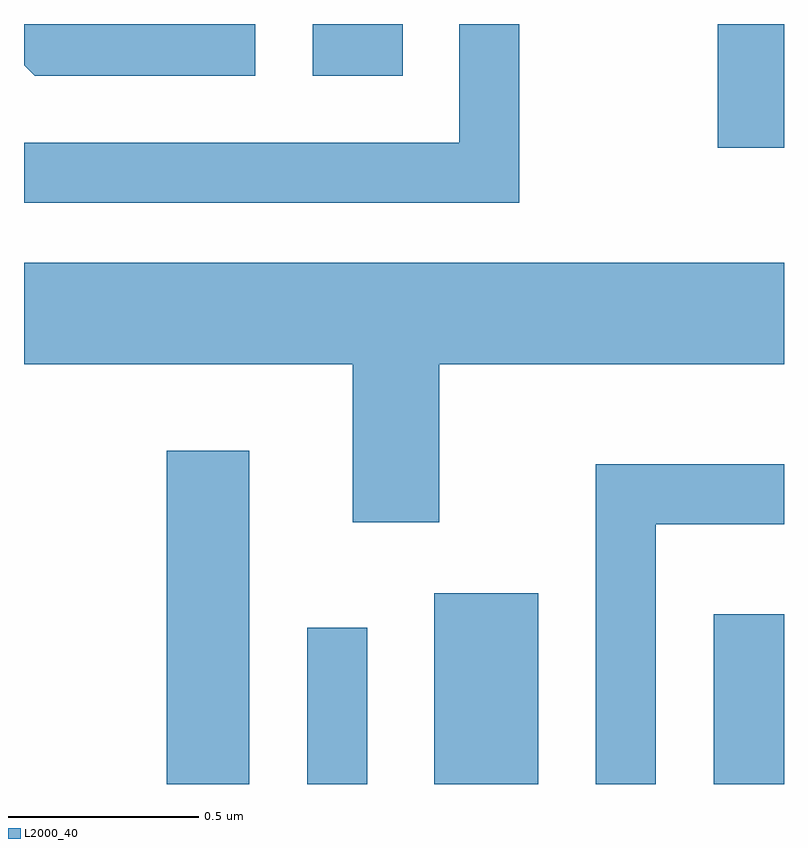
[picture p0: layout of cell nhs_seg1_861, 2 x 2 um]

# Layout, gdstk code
import gdstk
lib = gdstk.Library(unit=1e-6, precision=1e-09)
def R(c, l, rs):  # rectangles x0, y0, x1, y1
    for r in rs: c.add(gdstk.rectangle(r[:2], r[2:], *l))
def P(c, l, *ps):  # polygons
    for p in ps: c.add(gdstk.Polygon(p, *l))
L2000_40 = (2000, 40)

nhs_seg1_861 = lib.new_cell('nhs_seg1_861')
R(nhs_seg1_861, L2000_40, [(191.986,880.712,192.204,881.589), (192.356,880.712,192.514,881.123), (192.691,880.712,192.964,881.214), (193.426,880.712,193.611,881.159), (193.436,882.386,193.611,882.712), (192.371,882.576,192.608,882.712)])
P(nhs_seg1_861, L2000_40, [(192.219,882.712),(191.611,882.712),(191.611,882.604),(191.639,882.576),(192.219,882.576)],
  [(192.914,882.712),(192.756,882.712),(192.756,882.399),(191.611,882.399),(191.611,882.241),(192.914,882.241)],
  [(192.704,881.816),(193.611,881.816),(193.611,882.084),(191.611,882.084),(191.611,881.816),(192.476,881.816),(192.476,881.401),(192.704,881.401)],
  [(193.274,881.396),(193.611,881.396),(193.611,881.554),(193.116,881.554),(193.116,880.712),(193.274,880.712)])

lib.write_gds('nhs_seg1_861.gds')
